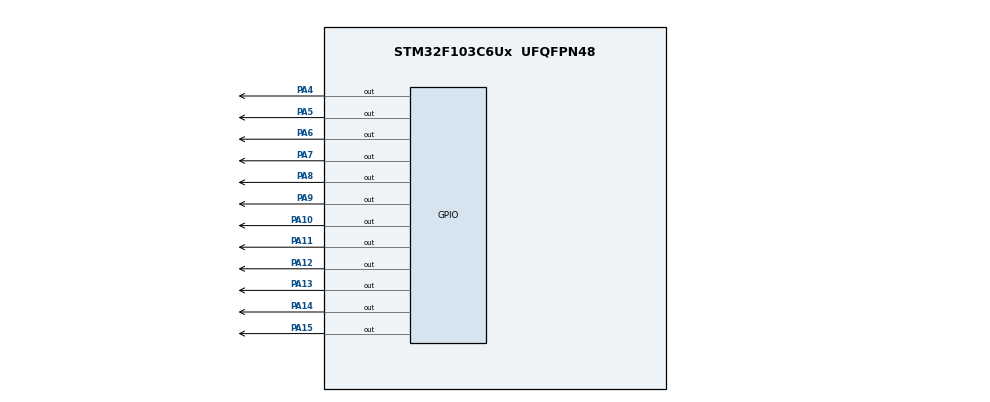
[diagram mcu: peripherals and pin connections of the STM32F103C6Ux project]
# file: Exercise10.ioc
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Mcu.Family=STM32F1
Mcu.Name=STM32F103C6Ux
Mcu.Package=UFQFPN48
NVIC.PriorityGroup=NVIC_PRIORITYGROUP_4
PA10.Signal=GPIO_Output
PA11.Signal=GPIO_Output
PA12.Signal=GPIO_Output
PA13.Signal=GPIO_Output
PA14.Signal=GPIO_Output
PA15.Signal=GPIO_Output
PA4.Signal=GPIO_Output
PA5.Signal=GPIO_Output
PA6.Signal=GPIO_Output
PA7.Signal=GPIO_Output
PA8.Signal=GPIO_Output
PA9.Signal=GPIO_Output
ProjectManager.HeapSize=0x200
ProjectManager.StackSize=0x400
ProjectManager.TargetToolchain=STM32CubeIDE
RCC.APB1Freq_Value=8000000
RCC.APB2Freq_Value=8000000
board=custom

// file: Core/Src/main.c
/* USER CODE BEGIN Header */
/**
  ******************************************************************************
  * @file           : main.c
  * @brief          : Main program body
  ******************************************************************************
  * @attention
  *
  * Copyright (c) 2025 STMicroelectronics.
  * All rights reserved.
  *
  * This software is licensed under terms that can be found in the LICENSE file
  * in the root directory of this software component.
  * If no LICENSE file comes with this software, it is provided AS-IS.
  *
  ******************************************************************************
  */
/* USER CODE END Header */
#include "main.h"

void SystemClock_Config(void);
static void MX_GPIO_Init(void);
/* USER CODE BEGIN PFP */
void clearAllClock();
void setNumberOnClock(int num);
void clearNumberOnClock(int num);
/* USER CODE END PFP */

int main(void)
{

  /* MCU Configuration--------------------------------------------------------*/

  /* Reset of all peripherals, Initializes the Flash interface and the Systick. */
  HAL_Init();

  /* USER CODE BEGIN Init */
  int second, minute, hour;
  second = minute = hour = 0;
  int on = 1;
  /* USER CODE END Init */

  /* Configure the system clock */
  SystemClock_Config();

  /* Initialize all configured peripherals */
  MX_GPIO_Init();

  /* Infinite loop */
  while (1)
  {
	    switch (on)
	    {
	    case 1:
	        if(second == 60){
	            minute++;
	            second = 0;
	        }
	        if(minute == 60){
	            hour++;
	            minute = 0;
	        }
	        if(hour == 12){
	            hour = 0;
	        }

	        int second_led = (int)(second / 5);
	        int minute_led = (int)(minute / 5);

	        setNumberOnClock(second_led);
	        setNumberOnClock(minute_led);
	        setNumberOnClock(hour);

	        for(int i = 0; i < 12; i++){
	            if(i != second_led && i != minute_led && i != hour){ //any that's not occopied by second, minute or hour gets cleared
	                clearNumberOnClock(i);
	            }
	        }

	        HAL_Delay(10);
	        second++;
	        break;
	    default:
	        clearAllClock();
	        break;
	    }
  }
}

void SystemClock_Config(void)
{
  RCC_OscInitTypeDef RCC_OscInitStruct = {0};
  RCC_ClkInitTypeDef RCC_ClkInitStruct = {0};

  /** Initializes the RCC Oscillators according to the specified parameters
  * in the RCC_OscInitTypeDef structure.
  */
  RCC_OscInitStruct.OscillatorType = RCC_OSCILLATORTYPE_HSI;
  RCC_OscInitStruct.HSIState = RCC_HSI_ON;
  RCC_OscInitStruct.HSICalibrationValue = RCC_HSICALIBRATION_DEFAULT;
  RCC_OscInitStruct.PLL.PLLState = RCC_PLL_NONE;
  if (HAL_RCC_OscConfig(&RCC_OscInitStruct) != HAL_OK)
  {
    Error_Handler();
  }

  /** Initializes the CPU, AHB and APB buses clocks
  */
  RCC_ClkInitStruct.ClockType = RCC_CLOCKTYPE_HCLK|RCC_CLOCKTYPE_SYSCLK
                              |RCC_CLOCKTYPE_PCLK1|RCC_CLOCKTYPE_PCLK2;
  RCC_ClkInitStruct.SYSCLKSource = RCC_SYSCLKSOURCE_HSI;
  RCC_ClkInitStruct.AHBCLKDivider = RCC_SYSCLK_DIV1;
  RCC_ClkInitStruct.APB1CLKDivider = RCC_HCLK_DIV1;
  RCC_ClkInitStruct.APB2CLKDivider = RCC_HCLK_DIV1;

  if (HAL_RCC_ClockConfig(&RCC_ClkInitStruct, FLASH_LATENCY_0) != HAL_OK)
  {
    Error_Handler();
  }
}

static void MX_GPIO_Init(void)
{
  GPIO_InitTypeDef GPIO_InitStruct = {0};

  /* GPIO Ports Clock Enable */
  __HAL_RCC_GPIOA_CLK_ENABLE();

  /*Configure GPIO pin Output Level */
  HAL_GPIO_WritePin(GPIOA, GPIO_PIN_4|GPIO_PIN_5|GPIO_PIN_6|GPIO_PIN_7
                          |GPIO_PIN_8|GPIO_PIN_9|GPIO_PIN_10|GPIO_PIN_11
                          |GPIO_PIN_12|GPIO_PIN_13|GPIO_PIN_14|GPIO_PIN_15, GPIO_PIN_RESET);

  /*Configure GPIO pins : PA4 PA5 PA6 PA7
                           PA8 PA9 PA10 PA11
                           PA12 PA13 PA14 PA15 */
  GPIO_InitStruct.Pin = GPIO_PIN_4|GPIO_PIN_5|GPIO_PIN_6|GPIO_PIN_7
                          |GPIO_PIN_8|GPIO_PIN_9|GPIO_PIN_10|GPIO_PIN_11
                          |GPIO_PIN_12|GPIO_PIN_13|GPIO_PIN_14|GPIO_PIN_15;
  GPIO_InitStruct.Mode = GPIO_MODE_OUTPUT_PP;
  GPIO_InitStruct.Pull = GPIO_NOPULL;
  GPIO_InitStruct.Speed = GPIO_SPEED_FREQ_LOW;
  HAL_GPIO_Init(GPIOA, &GPIO_InitStruct);

}

/* USER CODE BEGIN 4 */
void clearAllClock(){
    HAL_GPIO_WritePin(GPIOA, GPIO_PIN_4 | GPIO_PIN_5 | GPIO_PIN_6 | GPIO_PIN_7 | GPIO_PIN_8 | GPIO_PIN_9 | GPIO_PIN_10 | GPIO_PIN_11 | GPIO_PIN_12 | GPIO_PIN_13 | GPIO_PIN_14 | GPIO_PIN_15, SET);
}

void setNumberOnClock(int num){
    if(num < 0 || num > 11){
      return;
    }
    HAL_GPIO_WritePin(GPIOA, (GPIO_PIN_4 << num), RESET);
}

void clearNumberOnClock(int num){
    if(num < 0 || num > 11){
      return;
    }
    HAL_GPIO_WritePin(GPIOA, (GPIO_PIN_4 << num), SET);
}
/* USER CODE END 4 */

void Error_Handler(void)
{
  __disable_irq();
  while (1)
  {
  }
}
